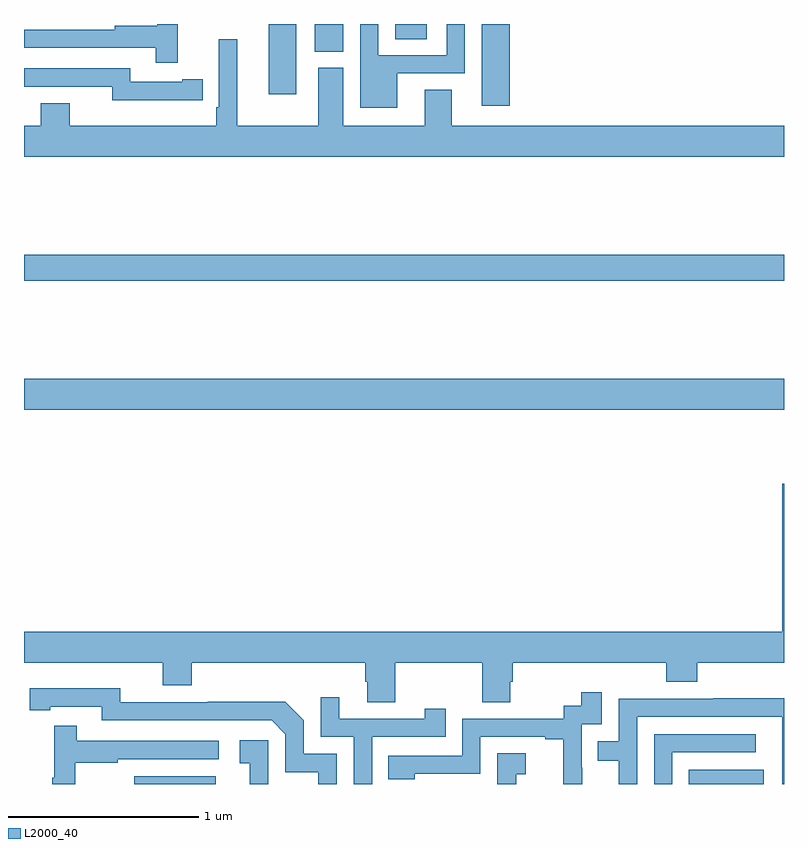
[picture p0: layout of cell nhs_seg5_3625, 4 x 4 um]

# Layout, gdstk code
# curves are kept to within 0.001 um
import gdstk
lib = gdstk.Library(unit=1e-6, precision=1e-09)
def R(c, l, rs):  # rectangles x0, y0, x1, y1
    for r in rs: c.add(gdstk.rectangle(r[:2], r[2:], *l))
def P(c, l, *ps):  # polygons
    for p in ps: c.add(gdstk.Polygon(p, *l))
L2000_40 = (2000, 40)

nhs_seg5_3625 = lib.new_cell('nhs_seg5_3625')
R(nhs_seg5_3625, L2000_40, [(325.581,846.799,326.008,846.841), (328.498,846.799,328.894,846.874), (325,848.768,329,848.932), (325,849.448,329,849.584), (327.41,850.368,327.557,850.799), (326.288,850.428,326.434,850.799), (326.531,850.654,326.68,850.799), (326.954,850.72,327.121,850.799)])
P(nhs_seg5_3625, L2000_40, [(325.809,850.799),(325.701,850.799),(325.701,850.79),(325.477,850.79),(325.477,850.77),(325,850.77),(325,850.674),(325.693,850.674),(325.693,850.596),(325.809,850.596)],
  [(326.965,850.539),(327.321,850.539),(327.321,850.799),(327.225,850.799),(327.225,850.635),(326.865,850.635),(326.865,850.799),(326.769,850.799),(326.769,850.358),(326.965,850.358)],
  [(329,850.264),(327.25,850.264),(327.25,850.454),(327.11,850.454),(327.11,850.264),(326.68,850.264),(326.68,850.569),(326.549,850.569),(326.549,850.264),(326.122,850.264),(326.122,850.72),(326.025,850.72),(326.025,850.36),(326.012,850.36),(326.012,850.264),(325.24,850.264),(325.24,850.381),(325.088,850.381),(325.088,850.264),(325,850.264),(325,850.1),(329,850.1)],
  [(325.832,850.398),(325.94,850.398),(325.94,850.507),(325.832,850.507),(325.832,850.494),(325.56,850.494),(325.56,850.566),(325,850.566),(325,850.469),(325.004,850.469),(325.004,850.47),(325.464,850.47),(325.464,850.397),(325.832,850.397)],
  [(326.955,847.436),(327.412,847.436),(327.412,847.228),(327.559,847.228),(327.559,847.338),(327.572,847.338),(327.572,847.436),(328.379,847.436),(328.379,847.337),(328.544,847.337),(328.544,847.436),(329,847.436),(329,848.38),(328.991,848.38),(328.991,847.6),(325,847.6),(325,847.436),(325.73,847.436),(325.73,847.319),(325.883,847.319),(325.883,847.436),(326.795,847.436),(326.795,847.338),(326.807,847.338),(326.807,847.228),(326.955,847.228)],
  [(326.646,846.957),(326.472,846.957),(326.472,847.134),(326.374,847.232),(325.966,847.232),(325.966,847.23),(325.506,847.23),(325.506,847.303),(325.03,847.302),(325.03,847.186),(325.138,847.186),(325.138,847.206),(325.41,847.206),(325.41,847.134),(326.304,847.134),(326.376,847.062),(326.376,846.861),(326.549,846.861),(326.549,846.799),(326.646,846.799)],
  [(327.938,846.884),(327.936,846.884),(327.936,847.113),(328.041,847.113),(328.041,847.282),(327.933,847.282),(327.933,847.212),(327.84,847.212),(327.84,847.143),(327.306,847.143),(327.306,846.948),(326.917,846.948),(326.917,846.825),(327.057,846.825),(327.057,846.852),(327.402,846.852),(327.402,847.047),(327.743,847.047),(327.743,847.035),(327.839,847.035),(327.839,846.799),(327.938,846.799)],
  [(326.832,847.047),(327.221,847.047),(327.221,847.195),(327.11,847.195),(327.11,847.143),(326.659,847.143),(326.659,847.255),(326.562,847.255),(326.562,847.047),(326.736,847.047),(326.736,846.799),(326.832,846.799)],
  [(328.227,847.152),(328.991,847.152),(328.991,846.898),(328.992,846.898),(328.992,846.799),(329,846.799),(329,847.25),(328.627,847.25),(328.627,847.248),(328.131,847.248),(328.131,847.023),(328.021,847.023),(328.021,846.922),(328.131,846.922),(328.131,846.799),(328.227,846.799)],
  [(325.27,846.91),(325.493,846.91),(325.493,846.93),(326.026,846.93),(326.026,847.026),(325.277,847.026),(325.277,847.105),(325.16,847.105),(325.16,846.833),(325.149,846.833),(325.149,846.799),(325.27,846.799)],
  [(328.413,846.966),(328.852,846.966),(328.852,847.062),(328.317,847.062),(328.317,846.799),(328.413,846.799)],
  [(326.286,847.03),(326.136,847.03),(326.136,846.909),(326.189,846.909),(326.189,846.799),(326.286,846.799)],
  [(327.591,846.851),(327.64,846.851),(327.64,846.961),(327.492,846.961),(327.492,846.799),(327.591,846.799)])

lib.write_gds('nhs_seg5_3625.gds')
